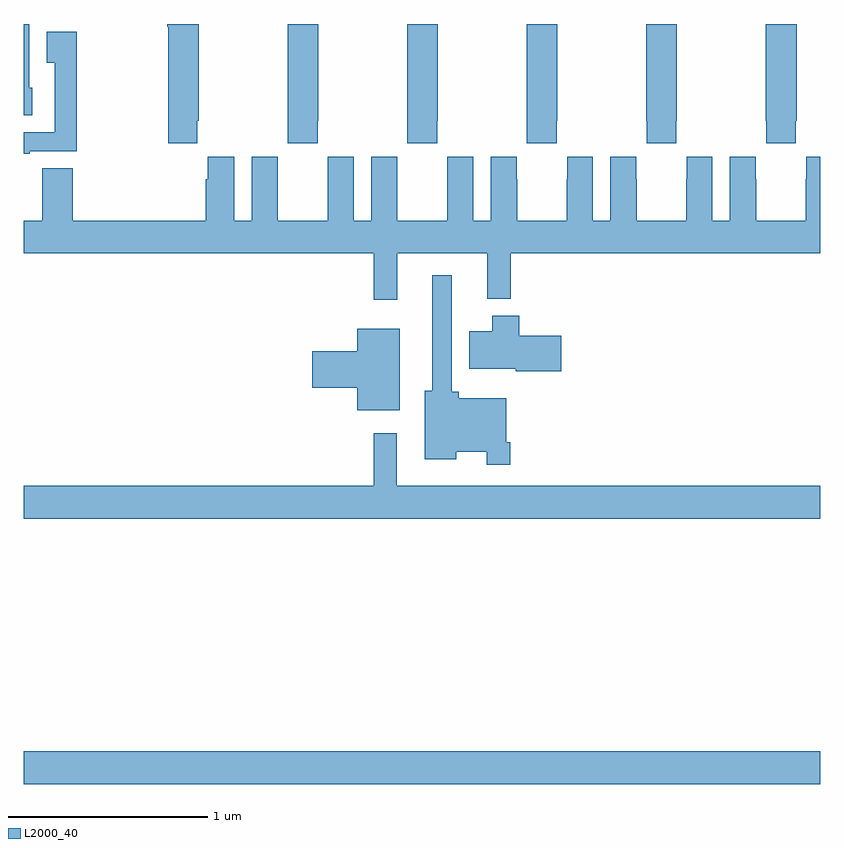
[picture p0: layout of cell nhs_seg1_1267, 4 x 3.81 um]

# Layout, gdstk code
import gdstk
lib = gdstk.Library(unit=1e-6, precision=1e-09)
def R(c, l, rs):  # rectangles x0, y0, x1, y1
    for r in rs: c.add(gdstk.rectangle(r[:2], r[2:], *l))
def P(c, l, *ps):  # polygons
    for p in ps: c.add(gdstk.Polygon(p, *l))
L2000_40 = (2000, 40)

nhs_seg1_1267 = lib.new_cell('nhs_seg1_1267')
R(nhs_seg1_1267, L2000_40, [(179,566.384,183,566.548)])
P(nhs_seg1_1267, L2000_40, [(179.044,569.88),(179.029,569.88),(179.029,570.199),(179,570.199),(179,569.74),(179.044,569.74)],
  [(182.877,569.713),(182.88,569.713),(182.88,570.199),(182.725,570.199),(182.725,569.713),(182.727,569.713),(182.727,569.601),(182.877,569.601)],
  [(182.277,569.713),(182.28,569.713),(182.28,570.199),(182.125,570.199),(182.125,569.713),(182.127,569.713),(182.127,569.601),(182.277,569.601)],
  [(181.677,569.713),(181.68,569.713),(181.68,570.199),(181.525,570.199),(181.525,569.713),(181.527,569.713),(181.527,569.601),(181.677,569.601)],
  [(181.077,569.713),(181.08,569.713),(181.08,570.199),(180.925,570.199),(180.925,569.713),(180.927,569.713),(180.927,569.601),(181.077,569.601)],
  [(180.477,569.713),(180.48,569.713),(180.48,570.199),(180.325,570.199),(180.325,569.713),(180.327,569.713),(180.327,569.601),(180.477,569.601)],
  [(179.873,569.713),(179.88,569.713),(179.88,570.199),(179.72,570.199),(179.72,570.184),(179.725,570.184),(179.725,569.601),(179.873,569.601)],
  [(179.032,569.559),(179.266,569.559),(179.266,570.16),(179.117,570.16),(179.117,570.004),(179.157,570.004),(179.157,569.655),(179,569.655),(179,569.547),(179.032,569.547)],
  [(180.875,569.048),(181.328,569.048),(181.328,568.82),(181.445,568.82),(181.445,569.048),(183,569.048),(183,569.533),(182.928,569.533),(182.928,569.42),(182.927,569.42),(182.927,569.212),(182.677,569.212),(182.677,569.42),(182.676,569.42),(182.676,569.533),(182.546,569.533),(182.546,569.212),(182.458,569.212),(182.458,569.533),(182.328,569.533),(182.328,569.42),(182.327,569.42),(182.327,569.212),(182.077,569.212),(182.077,569.42),(182.076,569.42),(182.076,569.533),(181.946,569.533),(181.946,569.212),(181.858,569.212),(181.858,569.533),(181.728,569.533),(181.728,569.42),(181.727,569.42),(181.727,569.212),(181.477,569.212),(181.477,569.42),(181.476,569.42),(181.476,569.533),(181.346,569.533),(181.346,569.212),(181.258,569.212),(181.258,569.533),(181.128,569.533),(181.128,569.42),(181.127,569.42),(181.127,569.212),(180.877,569.212),(180.877,569.42),(180.876,569.42),(180.876,569.533),(180.746,569.533),(180.746,569.212),(180.658,569.212),(180.658,569.533),(180.528,569.533),(180.528,569.42),(180.527,569.42),(180.527,569.212),(180.277,569.212),(180.277,569.42),(180.276,569.42),(180.276,569.533),(180.146,569.533),(180.146,569.212),(180.058,569.212),(180.058,569.533),(179.924,569.533),(179.924,569.42),(179.915,569.42),(179.915,569.212),(179.246,569.212),(179.246,569.474),(179.093,569.474),(179.093,569.212),(179,569.212),(179,569.048),(180.757,569.048),(180.757,568.815),(180.875,568.815)],
  [(181.442,568.099),(181.422,568.099),(181.422,568.321),(181.184,568.321),(181.184,568.353),(181.149,568.353),(181.149,568.939),(181.052,568.939),(181.052,568.357),(181.013,568.357),(181.013,568.013),(181.171,568.013),(181.171,568.052),(181.325,568.052),(181.325,567.987),(181.442,567.987)],
  [(181.699,568.635),(181.487,568.635),(181.487,568.735),(181.352,568.735),(181.352,568.657),(181.238,568.657),(181.238,568.469),(181.47,568.469),(181.47,568.457),(181.699,568.457)],
  [(180.889,568.669),(180.674,568.669),(180.674,568.556),(180.45,568.556),(180.45,568.373),(180.674,568.373),(180.674,568.259),(180.889,568.259)],
  [(183,567.88),(180.874,567.88),(180.874,568.144),(180.757,568.144),(180.757,567.88),(179,567.88),(179,567.716),(183,567.716)])

lib.write_gds('nhs_seg1_1267.gds')
